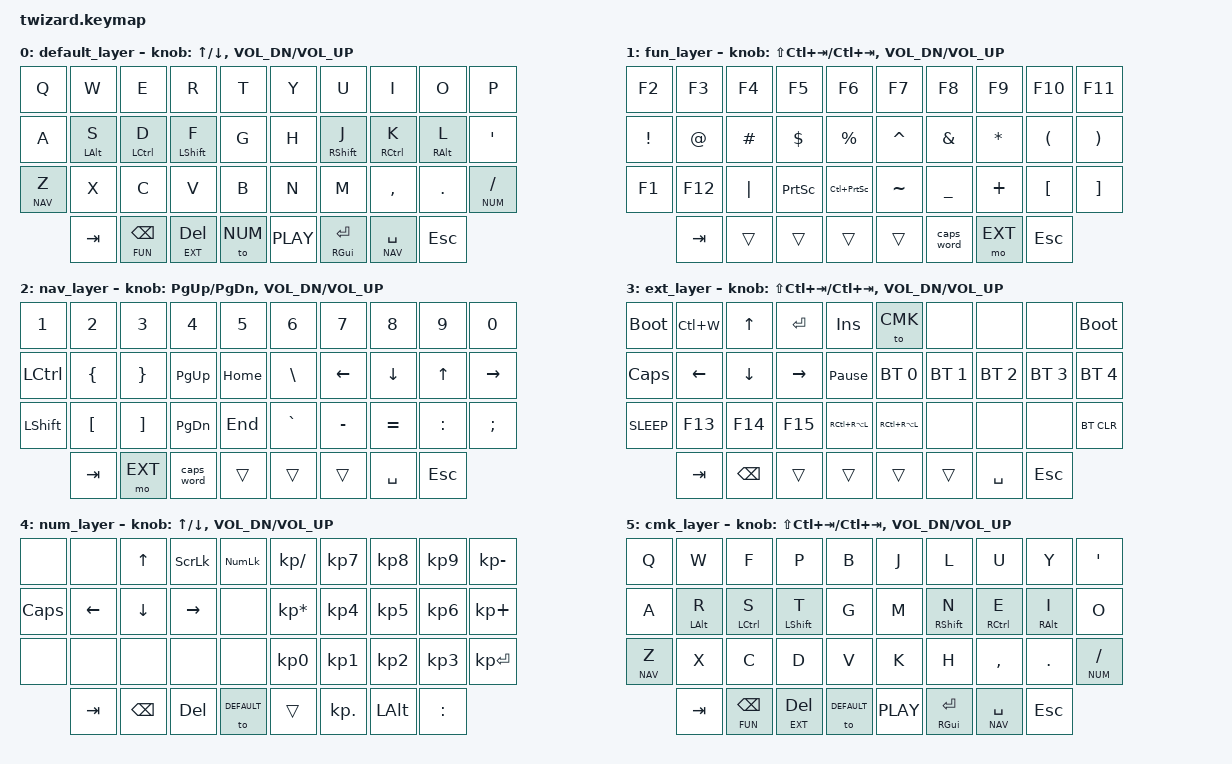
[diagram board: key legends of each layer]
#include <behaviors.dtsi>
#include <dt-bindings/zmk/bt.h>
#include <dt-bindings/zmk/keys.h>

#define TTERM   300
#define DEFAULT 0
#define FUN     1
#define NAV     2
#define EXT     3
#define NUM     4
#define CMK     5

&mt { tapping-term-ms = <TTERM>; };
/ {
    behaviors {
        hm: homerow_mods {
            compatible = "zmk,behavior-hold-tap";
            label = "HOMEROW_MODS";
            #binding-cells = <2>;
            tapping-term-ms = <TTERM>;
            quick-tap-ms = <125>;
            flavor = "tap-preferred";
            bindings = <&kp>, <&kp>;
        };
        gqt: global-quick-tap {
            compatible = "zmk,behavior-hold-tap";
            label = "GLOBAL_QUICK_TAP";
            #binding-cells = <2>;
            flavor = "tap-preferred";
            tapping-term-ms = <TTERM>;
            quick-tap-ms = <125>;
            global-quick-tap;
            bindings = <&kp>, <&kp>;
        };
    };
    
    
    keymap {
        compatible = "zmk,keymap";

        default_layer {
            bindings = <
                &kp Q           &kp W           &kp E           &kp R           &kp T                   &kp Y           &kp U           &kp I           &kp O           &kp P
                &kp A           &mt LALT S      &mt LCTRL D     &mt LSHFT F     &kp G                   &kp H           &mt RSHFT J     &mt RCTRL K     &mt RALT L      &kp SQT
                &lt NAV Z       &kp X           &kp C           &kp V           &kp B                   &kp N           &kp M           &kp COMMA       &kp DOT         &lt NUM FSLH
                                &kp TAB         &lt FUN BSPC    &lt EXT DEL     &to NUM                 &kp C_PLAY      &mt RGUI ENTER  &lt NAV SPACE   &kp ESC
            >;
            sensor-bindings = <&inc_dec_kp UP DOWN &inc_dec_kp C_VOL_DN C_VOL_UP>;
        };

        fun_layer {
            bindings = <
                &kp F2          &kp F3          &kp F4          &kp F5          &kp F6                  &kp F7          &kp F8          &kp F9          &kp F10         &kp F11
                &kp EXCL        &kp AT          &kp HASH        &kp DLLR        &kp PRCNT               &kp CARET       &kp AMPS        &kp ASTRK       &kp LPAR        &kp RPAR
                &kp F1          &kp F12         &kp PIPE        &kp PSCRN       &kp LC(PSCRN)           &kp TILDE       &kp UNDER       &kp PLUS        &kp LBKT        &kp RBKT
                                &kp TAB         &trans          &trans          &trans                  &trans          &caps_word      &mo EXT         &kp ESC
            >;
            sensor-bindings = <&inc_dec_kp LS(LC(TAB)) LC(TAB) &inc_dec_kp C_VOL_DN C_VOL_UP>;
        };

        nav_layer {
            bindings = <
                &kp N1          &kp N2          &kp N3          &kp N4          &kp N5                  &kp N6          &kp N7          &kp N8          &kp N9          &kp N0
                &kp LCTRL       &kp LBRC        &kp RBRC        &kp PG_UP       &kp HOME                &kp BSLH        &kp LEFT        &kp DOWN        &kp UP          &kp RIGHT
                &kp LSHFT       &kp LBKT        &kp RBKT        &kp PG_DN       &kp END					&kp GRAVE       &kp MINUS       &kp EQUAL       &kp COLON       &kp SEMI
                                &kp TAB         &mo EXT         &caps_word      &trans                  &trans          &trans          &kp SPACE       &kp ESC
            >;
            sensor-bindings = <&inc_dec_kp PG_UP PG_DN &inc_dec_kp C_VOL_DN C_VOL_UP>;
        };		


        ext_layer {
            bindings = <
                &bootloader     &kp LC(W)       &kp UP          &kp ENTER       &kp INSERT              &to CMK         &none           &none           &none           &bootloader
                &kp CAPS        &kp LEFT        &kp DOWN        &kp RIGHT       &kp PAUSE_BREAK         &bt BT_SEL 0    &bt BT_SEL 1    &bt BT_SEL 2    &bt BT_SEL 3    &bt BT_SEL 4
                &kp K_SLEEP     &kp F13         &kp F14         &kp F15         &kp RC(RA(L))           &kp RC(RA(L))   &none           &none           &none           &bt BT_CLR
                                &kp TAB         &kp BSPC        &trans          &trans                  &trans          &trans          &kp SPACE       &kp ESC
            >;
            sensor-bindings = <&inc_dec_kp LS(LC(TAB)) LC(TAB) &inc_dec_kp C_VOL_DN C_VOL_UP>;
        };

        num_layer {
            bindings = <
                &none           &none           &kp UP          &kp SLCK        &kp KP_NUM              &kp KP_DIVIDE   &kp KP_N7       &kp KP_N8       &kp KP_N9       &kp KP_MINUS
                &kp CAPS        &kp LEFT        &kp DOWN        &kp RIGHT       &none                   &kp KP_MULTIPLY &kp KP_N4       &kp KP_N5       &kp KP_N6       &kp KP_PLUS
                &none           &none           &none           &none           &none                   &kp KP_N0       &kp KP_N1       &kp KP_N2       &kp KP_N3       &kp KP_ENTER
                                &kp TAB         &kp BSPC        &kp DEL         &to DEFAULT             &trans          &kp KP_DOT      &kp LALT        &kp COLON
            >;
            sensor-bindings = <&inc_dec_kp UP DOWN &inc_dec_kp C_VOL_DN C_VOL_UP>;
        };
        
        cmk_layer {
            bindings = <
                &kp Q           &kp W           &kp F           &kp P           &kp B                   &kp J           &kp L           &kp U           &kp Y           &kp SQT
                &kp A           &mt LALT R      &mt LCTRL S     &mt LSHFT T     &kp G                   &kp M           &mt RSHFT N     &mt RCTRL E     &mt RALT I      &kp O
                &lt NAV Z       &kp X           &kp C           &kp D           &kp V                   &kp K           &kp H           &kp COMMA       &kp DOT         &lt NUM FSLH
                                &kp TAB         &lt FUN BSPC    &lt EXT DEL     &to DEFAULT             &kp C_PLAY      &mt RGUI ENTER  &lt NAV SPACE   &kp ESC
            >;
            sensor-bindings = <&inc_dec_kp LS(LC(TAB)) LC(TAB) &inc_dec_kp C_VOL_DN C_VOL_UP>;
        };
    };

    combos {
        compatible = "zmk,combos";
        combo_LBRC {
            timeout-ms = <50>;
            key-positions = <6 7>;
            bindings = <&kp LBRC>;
        };
        combo_RBRC {
            timeout-ms = <50>;
            key-positions = <7 8>;
            bindings = <&kp RBRC>;
        };
        combo_LPAR {
            timeout-ms = <50>;
            key-positions = <16 17>;
            bindings = <&kp LPAR>;
        };
        combo_RPAR {
            timeout-ms = <50>;
            key-positions = <17 18>;
            bindings = <&kp RPAR>;
        };
        combo_LBKT {
            timeout-ms = <50>;
            key-positions = <26 27>;
            bindings = <&kp LBKT>;
        };
        combo_RBKT {
            timeout-ms = <50>;
            key-positions = <27 28>;
            bindings = <&kp RBKT>;
        };
        
        
        combo_PREV {
            timeout-ms = <50>;
            key-positions = <1 2>;
            bindings = <&kp C_PREV>;
        };
        combo_NEXT {
            timeout-ms = <50>;
            key-positions = <2 3>;
            bindings = <&kp C_NEXT>;
        };
        combo_MINUS {
            timeout-ms = <50>;
            key-positions = <5 15>;
            bindings = <&kp MINUS>;
        };
        combo_UNDER {
            timeout-ms = <50>;
            key-positions = <15 25>;
            bindings = <&kp UNDER>;
        };


        combo_SEMI {
            timeout-ms = <50>;
            key-positions = <18 19>;
            bindings = <&kp SEMI>;
        };
        combo_COLON {
            timeout-ms = <50>;
            key-positions = <28 29>;
            bindings = <&kp COLON>;
        };
        combo_UNDO {
            timeout-ms = <50>;
            key-positions = <20 21>;
            bindings = <&kp RC(Z)>;
        };
        combo_COPY {
            timeout-ms = <50>;
            key-positions = <21 22>;
            bindings = <&kp RC(C)>;
        };
        combo_PSTE {
            timeout-ms = <50>;
            key-positions = <22 23>;
            bindings = <&kp RC(V)>;
        };

        
        combo_LESC {
            timeout-ms = <50>;
            key-positions = <0 1>;
            bindings = <&kp ESC>;
        };
        combo_RESC {
            timeout-ms = <50>;
            key-positions = <8 9>;
            bindings = <&kp ESC>;
        };
        combo_CSCR {
            timeout-ms = <50>;
            key-positions = <2 12>;
            bindings = <&kp LC(PSCRN)>;
        };
        combo_PSCR {
            timeout-ms = <50>;
            key-positions = <3 13>;
            bindings = <&kp PSCRN>;
        };
        combo_CTAB {
            timeout-ms = <50>;
            key-positions = <4 14>;
            bindings = <&kp LC(LS(T))>;
        };

        
        combo_KENT {
            timeout-ms = <50>;
            key-positions = <12 13>;
            bindings = <&kp ENTER>;
        };
        combo_KTAB {
            timeout-ms = <50>;
            key-positions = <10 11>;
            bindings = <&kp TAB>;
        };
        combo_KILL {
            timeout-ms = <50>;
            key-positions = <23 24>;
            bindings = <&kp LA(F4)>;
        };
    };
};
